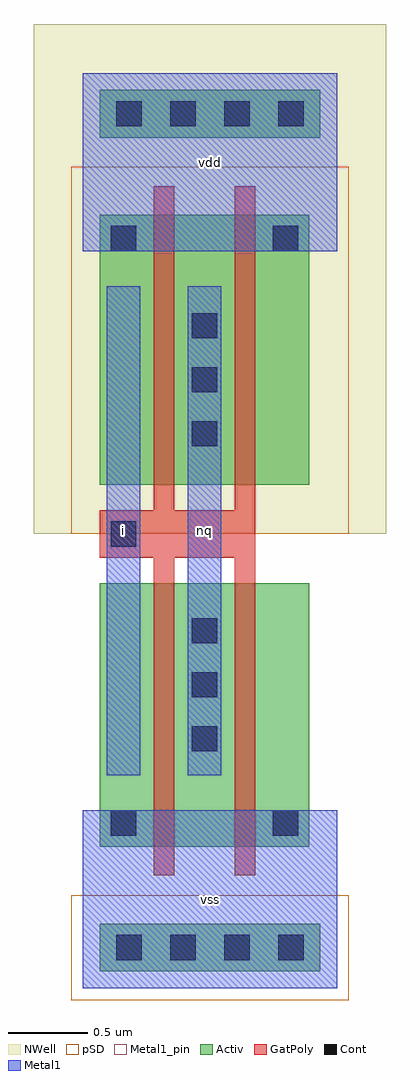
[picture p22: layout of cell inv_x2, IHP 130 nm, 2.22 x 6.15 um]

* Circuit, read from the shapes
.subckt inv_x2 i nq vdd vss
XM1 nq i vss vss sg13_lv_nmos w=1.66u l=0.13u m=2
XM2 nq i vdd vdd sg13_lv_pmos w=1.7u l=0.13u m=2
.ends

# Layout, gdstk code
import gdstk
lib = gdstk.Library(unit=1e-6, precision=1e-09)
def R(c, l, rs):  # rectangles x0, y0, x1, y1
    for r in rs: c.add(gdstk.rectangle(r[:2], r[2:], *l))
def A(c, l, x, y, w, h, nx, ny, dx, dy):  # array of equal rectangles
    R(c, l, [(x+i*dx, y+j*dy, x+i*dx+w, y+j*dy+h) for i in range(nx) for j in range(ny)])
def P(c, l, *ps):  # polygons
    for p in ps: c.add(gdstk.Polygon(p, *l))
Activ = (1, 0)
GatPoly = (5, 0)
Cont = (6, 0)
Metal1 = (8, 0)
Metal1_pin = (8, 2)
pSD = (14, 0)
NWell = (31, 0)

inv_x2 = lib.new_cell('inv_x2')
R(inv_x2, Activ, [(0.105,0.105,1.495,0.405), (0.105,0.89,1.425,2.55), (0.105,3.17,1.425,4.87), (0.105,5.355,1.495,5.655)])
P(inv_x2, GatPoly, [(0.445,0.71),(0.445,2.71),(0.105,2.71),(0.105,3.01),(0.445,3.01),(0.445,5.05),(0.575,5.05),(0.575,3.01),(0.955,3.01),(0.955,5.05),(1.085,5.05),(1.085,0.71),(0.955,0.71),(0.955,2.71),(0.575,2.71),(0.575,0.71)])
A(inv_x2, Cont, 0.21, 0.175, 0.16, 0.16, 4, 2, 0.34, 5.25)
A(inv_x2, Cont, 0.685, 1.49, 0.16, 0.16, 1, 3, 0, 0.34)
A(inv_x2, Cont, 0.685, 3.41, 0.16, 0.16, 1, 3, 0, 0.34)
R(inv_x2, Cont, [(0.175,0.96,0.335,1.12), (1.195,0.96,1.355,1.12), (0.175,2.78,0.335,2.94), (0.175,4.64,0.335,4.8), (1.195,4.64,1.355,4.8)])
R(inv_x2, Metal1, [(0,0,1.6,1.12), (0.15,1.34,0.36,4.42), (0.66,1.34,0.87,4.42), (0,4.64,1.6,5.76)])
R(inv_x2, Metal1_pin, [(0,0,1.6,1.12), (0.15,1.34,0.36,4.42), (0.66,1.34,0.87,4.42), (0,4.64,1.6,5.76)])
R(inv_x2, pSD, [(-0.075,-0.075,1.675,0.585), (-0.075,2.86,1.675,5.17)])
R(inv_x2, NWell, [(-0.31,2.86,1.91,6.07)])
inv_x2.add(gdstk.Label('vss', (0.8,0.56), layer=8, texttype=2))
inv_x2.add(gdstk.Label('vdd', (0.8,5.2), layer=8, texttype=2))
inv_x2.add(gdstk.Label('nq', (0.765,2.88), layer=8, texttype=2))
inv_x2.add(gdstk.Label('i', (0.255,2.88), layer=8, texttype=2))

lib.write_gds('inv_x2.gds')
